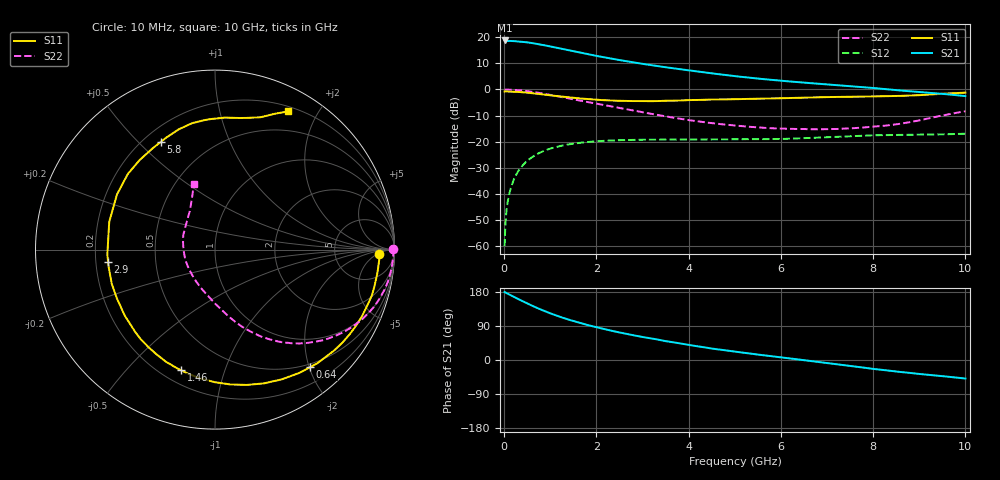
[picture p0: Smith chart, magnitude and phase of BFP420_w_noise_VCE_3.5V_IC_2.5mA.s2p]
! Infineon Technologies  Discrete & RF Semiconductors
! BFP420
! VCE =  3.5 V,  IC =  2.5 mA
! Common Emitter S-Parameters:  Jan 2016
# GHz  S  MA  R  50
!  f  S11  S21  S12  S22
! GHz  MAG  ANG  MAG  ANG  MAG  ANG  MAG  ANG
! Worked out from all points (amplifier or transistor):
!   233 points, 10 MHz to 10 GHz, reference 50 ohm
!   highest |S21| = 18.8 dB at 10 MHz (marker M1)
!   |S21| within 3 dB of that: start of sweep to 1.195 GHz
!   unconditionally stable (mu >= 1): 3.687 GHz to end of sweep
!   at 200 MHz: K = 0.05, MSG = 26.7 dB, |S12| = -34.9 dB
!   at 1.74 GHz: K = 0.40, MSG = 17.0 dB, |S12| = -20.2 dB
!   at 10 GHz: K = 1.19, MAG = 4.6 dB, |S12| = -16.9 dB
!   lowest NFmin = 0.55 dB at 900 MHz
!   S11 on the Smith chart (normalised r, x): 10 MHz: 21, -7; 640 MHz: 0.45, -2.02; 1.46 GHz: 0.27, -0.72; 2.9 GHz: 0.25, -0.05; 5.8 GHz: 0.27, +0.58; 10 GHz: 0.26, +1.63
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0.01  0.9159 -1.6  8.69 179.2  0.001 87.0  0.992 0.1
0.02  0.9167 -1.6  8.456 178.9  0.0018 81.3  0.9929 -0.8
0.05  0.9165 -3.8  8.484 176.7  0.0047 84.7  0.9934 -2.1
0.16  0.9116 -13.0  8.491 170.0  0.0144 81.8  0.9871 -7.1
0.3  0.8994 -24.4  8.349 161.2  0.0268 76.1  0.9703 -13.3
0.42  0.8826 -33.9  8.149 154.1  0.0367 70.8  0.9478 -18.4
0.64  0.8425 -51.0  7.656 141.4  0.053 61.7  0.8936 -27.2
0.8  0.8129 -62.8  7.229 132.9  0.0633 55.9  0.8488 -33.0
1  0.7745 -76.8  6.684 123.2  0.0738 49.1  0.7893 -39.6
1.2  0.7389 -90.0  6.139 114.3  0.0823 43.1  0.7304 -45.4
1.46  0.6982 -105.7  5.497 104.3  0.0907 36.4  0.6592 -52.0
1.68  0.6706 -118.0  5.02 96.5  0.0961 31.5  0.6045 -57.0
2.2  0.623 -143.8  4.084 80.6  0.1044 22.2  0.4949 -66.8
2.6  0.606 -161.7  3.537 70.0  0.1076 16.4  0.4244 -73.7
2.9  0.5993 -173.6  3.197 63.1  0.1088 12.9  0.3798 -78.5
3.4  0.6032 168.7  2.746 52.2  0.1098 8.1  0.317 -87.0
4.5  0.643 139.0  2.04 30.2  0.1109 1.0  0.227 -110.5
5.1  0.6532 128.3  1.763 20.6  0.1112 -1.3  0.2006 -124.0
5.8  0.6716 116.8  1.528 10.0  0.1123 -3.0  0.1811 -142.0
6.8  0.7085 102.8  1.292 -5.0  0.1197 -5.3  0.1731 -169.7
8.4  0.7459 79.4  0.991 -29.0  0.1342 -14.2  0.2094 141.6
10  0.8704 62.2  0.748 -48.9  0.1425 -20.8  0.3837 107.9
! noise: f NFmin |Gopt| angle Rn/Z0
0.9  0.55  0.41  33  0.2
1.8  1.02  0.24  78  0.16
2.4  1.11  0.26  103  0.15
3  1.28  0.27  140  0.11
4  1.5  0.34  -163  0.1
5  1.85  0.4  -130  0.26
6  2.56  0.5  -109  0.35
